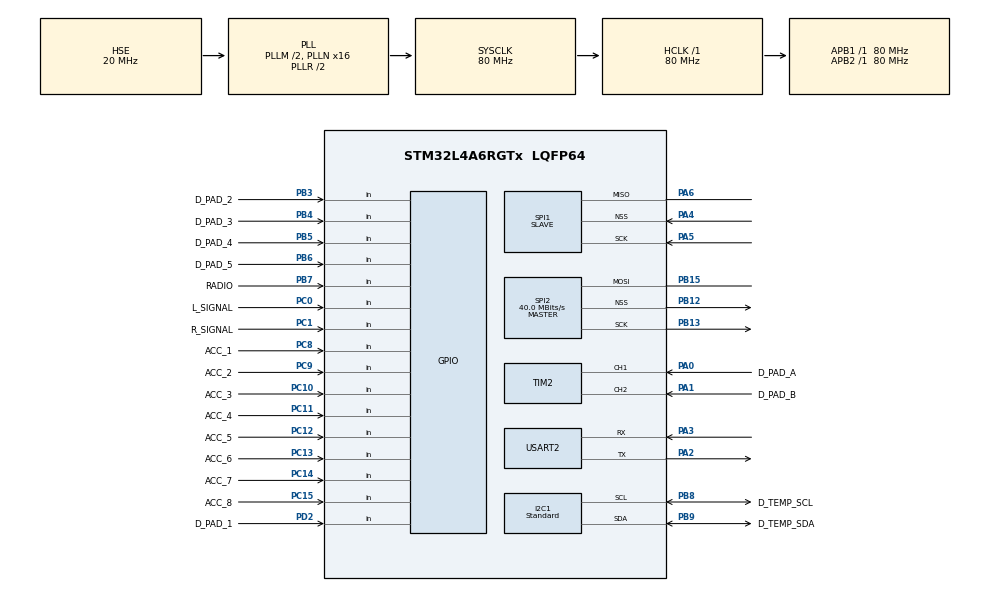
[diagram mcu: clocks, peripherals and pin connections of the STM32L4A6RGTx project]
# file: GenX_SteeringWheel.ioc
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FREERTOS.INCLUDE_vTaskDelayUntil=1
FREERTOS.MEMORY_ALLOCATION=2
FREERTOS.Tasks01=scanNavPadTask,0,128,scanNavPad,Default,NULL,Dynamic,NULL,NULL;acceleratorTask,1,128,getAccelerator,Default,NULL,Dynamic,NULL,NULL;getRHTempTask,-1,128,getRHTemp,Default,NULL,Dynamic,NULL,NULL
I2C1.Analog_Filter=I2C_ANALOGFILTER_DISABLE
I2C1.I2C_Speed_Mode=I2C_Standard
I2C1.Timing=0x10909EEE
Mcu.Family=STM32L4
Mcu.Name=STM32L4A6RGTx
Mcu.Package=LQFP64
NVIC.PriorityGroup=NVIC_PRIORITYGROUP_4
NVIC.TIM6_DAC_IRQn=true\:0\:0\:false\:false\:true\:false\:false\:true
NVIC.TimeBase=TIM6_DAC_IRQn
NVIC.TimeBaseIP=TIM6
PA0.GPIO_Label=D_PAD_A
PA0.Signal=S_TIM2_CH1
PA1.GPIO_Label=D_PAD_B
PA1.Signal=S_TIM2_CH2
PA13\ (JTMS/SWDIO).Mode=Serial_Wire
PA13\ (JTMS/SWDIO).Signal=SYS_JTMS-SWDIO
PA14\ (JTCK/SWCLK).Mode=Serial_Wire
PA14\ (JTCK/SWCLK).Signal=SYS_JTCK-SWCLK
PA2.Mode=Asynchronous
PA2.Signal=USART2_TX
PA3.Mode=Asynchronous
PA3.Signal=USART2_RX
PA4.Mode=NSS_Signal_Hard_Input
PA4.Signal=SPI1_NSS
PA5.Mode=Simplex_Bidirectional_Slave
PA5.Signal=SPI1_SCK
PA6.Mode=Simplex_Bidirectional_Slave
PA6.Signal=SPI1_MISO
PB12.Mode=NSS_Signal_Hard_Output
PB12.Signal=SPI2_NSS
PB13.Mode=Simplex_Bidirectional_Master
PB13.Signal=SPI2_SCK
PB15.Mode=Simplex_Bidirectional_Master
PB15.Signal=SPI2_MOSI
PB3\ (JTDO/TRACESWO).GPIO_Label=D_PAD_2
PB3\ (JTDO/TRACESWO).Signal=GPIO_Input
PB4\ (NJTRST).GPIO_Label=D_PAD_3
PB4\ (NJTRST).Signal=GPIO_Input
PB5.GPIO_Label=D_PAD_4
PB5.Signal=GPIO_Input
PB6.GPIO_Label=D_PAD_5
PB6.Signal=GPIO_Input
PB7.GPIO_Label=RADIO
PB7.Signal=GPIO_Input
PB8.GPIO_FM8=I2C_FASTMODEPLUS_PB8
PB8.GPIO_Label=D_TEMP_SCL
PB8.GPIO_PuPdOD=GPIO_NOPULL
PB8.Mode=I2C
PB8.Signal=I2C1_SCL
PB9.GPIO_FM9=I2C_FASTMODEPLUS_PB9
PB9.GPIO_Label=D_TEMP_SDA
PB9.GPIO_PuPdOD=GPIO_NOPULL
PB9.Mode=I2C
PB9.Signal=I2C1_SDA
PC0.GPIO_Label=L_SIGNAL
PC0.Signal=GPIO_Input
PC1.GPIO_Label=R_SIGNAL
PC1.Signal=GPIO_Input
PC10.GPIO_Label=ACC_3
PC10.Signal=GPIO_Input
PC11.GPIO_Label=ACC_4
PC11.Signal=GPIO_Input
PC12.GPIO_Label=ACC_5
PC12.Signal=GPIO_Input
PC13.GPIO_Label=ACC_6
PC13.Signal=GPIO_Input
PC14-OSC32_IN\ (PC14).GPIO_Label=ACC_7
PC14-OSC32_IN\ (PC14).Signal=GPIO_Input
PC15-OSC32_OUT\ (PC15).GPIO_Label=ACC_8
PC15-OSC32_OUT\ (PC15).Signal=GPIO_Input
PC8.GPIO_Label=ACC_1
PC8.Signal=GPIO_Input
PC9.GPIO_Label=ACC_2
PC9.Signal=GPIO_Input
PD2.GPIO_Label=D_PAD_1
PD2.Signal=GPIO_Input
PH0-OSC_IN\ (PH0).Mode=HSE-External-Oscillator
PH0-OSC_IN\ (PH0).Signal=RCC_OSC_IN
PH1-OSC_OUT\ (PH1).Mode=HSE-External-Oscillator
PH1-OSC_OUT\ (PH1).Signal=RCC_OSC_OUT
ProjectManager.HeapSize=0x200
ProjectManager.StackSize=0x400
ProjectManager.TargetToolchain=TrueSTUDIO
RCC.ADCFreq_Value=40000000
RCC.AHBFreq_Value=80000000
RCC.APB1Freq_Value=80000000
RCC.APB1TimFreq_Value=80000000
RCC.APB2Freq_Value=80000000
RCC.APB2TimFreq_Value=80000000
RCC.CortexFreq_Value=80000000
RCC.HCLKFreq_Value=80000000
RCC.HSE_VALUE=20000000
RCC.HSI48_VALUE=48000000
RCC.HSI_VALUE=16000000
RCC.LSE_VALUE=32768
RCC.MSI_VALUE=4000000
RCC.PLLM=2
RCC.PLLN=16
RCC.PLLSourceVirtual=RCC_PLLSOURCE_HSE
RCC.SYSCLKFreq_VALUE=80000000
RCC.SYSCLKSource=RCC_SYSCLKSOURCE_PLLCLK
RCC.USBFreq_Value=40000000
RCC.VCOOutputFreq_Value=160000000
SH.S_TIM2_CH1.0=TIM2_CH1,Encoder_Interface
SH.S_TIM2_CH2.0=TIM2_CH2,Encoder_Interface
SPI1.Direction=SPI_DIRECTION_1LINE
SPI1.Mode=SPI_MODE_SLAVE
SPI1.VirtualNSS=VM_NSSHARD
SPI1.VirtualType=VM_SLAVE
SPI2.BaudRatePrescaler=SPI_BAUDRATEPRESCALER_2
SPI2.CalculateBaudRate=40.0 MBits/s
SPI2.Direction=SPI_DIRECTION_1LINE
SPI2.Mode=SPI_MODE_MASTER
SPI2.VirtualNSS=VM_NSSHARD
SPI2.VirtualType=VM_MASTER
USART2.VirtualMode-Asynchronous=VM_ASYNC
VP_CRC_VS_CRC.Mode=CRC_Activate
VP_FREERTOS_VS_CMSIS_V1.Mode=CMSIS_V1
VP_SYS_VS_tim6.Mode=TIM6
board=custom

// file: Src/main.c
/* USER CODE BEGIN Header */
/**
  ******************************************************************************
  * @file           : main.c
  * @brief          : Main program body
  ******************************************************************************
  * @attention
  *
  * <h2><center>&copy; Copyright (c) 2019 STMicroelectronics.
  * All rights reserved.</center></h2>
  *
  * This software component is licensed by ST under Ultimate Liberty license
  * SLA0044, the "License"; You may not use this file except in compliance with
  * the License. You may obtain a copy of the License at:
  *                             www.st.com/SLA0044
  *
  ******************************************************************************
  */
/* USER CODE END Header */

#include "main.h"
#include "cmsis_os.h"
#include "crc.h"
#include "i2c.h"
#include "spi.h"
#include "tim.h"
#include "usart.h"
#include "gpio.h"

void SystemClock_Config(void);
void MX_FREERTOS_Init(void);

int main(void)
{

  /* MCU Configuration--------------------------------------------------------*/

  /* Reset of all peripherals, Initializes the Flash interface and the Systick. */
  HAL_Init();

  /* Configure the system clock */
  SystemClock_Config();

  /* Initialize all configured peripherals */
  MX_GPIO_Init();
  MX_SPI1_Init();
  MX_SPI2_Init();
  MX_USART2_UART_Init();
  MX_I2C1_Init();
  MX_TIM2_Init();
  MX_CRC_Init();

  /* Call init function for freertos objects (in freertos.c) */
  MX_FREERTOS_Init();

  /* Start scheduler */
  osKernelStart();

  /* We should never get here as control is now taken by the scheduler */

  /* Infinite loop */
  while (1)
  {

  }
}

void SystemClock_Config(void)
{
  RCC_OscInitTypeDef RCC_OscInitStruct = {0};
  RCC_ClkInitTypeDef RCC_ClkInitStruct = {0};
  RCC_PeriphCLKInitTypeDef PeriphClkInit = {0};

  /** Initializes the CPU, AHB and APB busses clocks
  */
  RCC_OscInitStruct.OscillatorType = RCC_OSCILLATORTYPE_HSE;
  RCC_OscInitStruct.HSEState = RCC_HSE_ON;
  RCC_OscInitStruct.PLL.PLLState = RCC_PLL_ON;
  RCC_OscInitStruct.PLL.PLLSource = RCC_PLLSOURCE_HSE;
  RCC_OscInitStruct.PLL.PLLM = 2;
  RCC_OscInitStruct.PLL.PLLN = 16;
  RCC_OscInitStruct.PLL.PLLP = RCC_PLLP_DIV2;
  RCC_OscInitStruct.PLL.PLLQ = RCC_PLLQ_DIV2;
  RCC_OscInitStruct.PLL.PLLR = RCC_PLLR_DIV2;
  if (HAL_RCC_OscConfig(&RCC_OscInitStruct) != HAL_OK)
  {
    Error_Handler();
  }
  /** Initializes the CPU, AHB and APB busses clocks
  */
  RCC_ClkInitStruct.ClockType = RCC_CLOCKTYPE_HCLK|RCC_CLOCKTYPE_SYSCLK
                              |RCC_CLOCKTYPE_PCLK1|RCC_CLOCKTYPE_PCLK2;
  RCC_ClkInitStruct.SYSCLKSource = RCC_SYSCLKSOURCE_PLLCLK;
  RCC_ClkInitStruct.AHBCLKDivider = RCC_SYSCLK_DIV1;
  RCC_ClkInitStruct.APB1CLKDivider = RCC_HCLK_DIV1;
  RCC_ClkInitStruct.APB2CLKDivider = RCC_HCLK_DIV1;

  if (HAL_RCC_ClockConfig(&RCC_ClkInitStruct, FLASH_LATENCY_4) != HAL_OK)
  {
    Error_Handler();
  }
  PeriphClkInit.PeriphClockSelection = RCC_PERIPHCLK_USART2|RCC_PERIPHCLK_I2C1;
  PeriphClkInit.Usart2ClockSelection = RCC_USART2CLKSOURCE_PCLK1;
  PeriphClkInit.I2c1ClockSelection = RCC_I2C1CLKSOURCE_PCLK1;
  if (HAL_RCCEx_PeriphCLKConfig(&PeriphClkInit) != HAL_OK)
  {
    Error_Handler();
  }
  /** Configure the main internal regulator output voltage
  */
  if (HAL_PWREx_ControlVoltageScaling(PWR_REGULATOR_VOLTAGE_SCALE1) != HAL_OK)
  {
    Error_Handler();
  }
}

void HAL_TIM_PeriodElapsedCallback(TIM_HandleTypeDef *htim)
{
  if (htim->Instance == TIM6) {
    HAL_IncTick();
  }
}

void Error_Handler(void)
{
}

/************************ (C) COPYRIGHT STMicroelectronics *****END OF FILE****/

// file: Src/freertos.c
/* USER CODE BEGIN Header */
/**
  ******************************************************************************
  * File Name          : freertos.c
  * Description        : Code for freertos applications
  ******************************************************************************
  * @attention
  *
  * <h2><center>&copy; Copyright (c) 2019 STMicroelectronics.
  * All rights reserved.</center></h2>
  *
  * This software component is licensed by ST under Ultimate Liberty license
  * SLA0044, the "License"; You may not use this file except in compliance with
  * the License. You may obtain a copy of the License at:
  *                             www.st.com/SLA0044
  *
  ******************************************************************************
  */
/* USER CODE END Header */

#include "FreeRTOS.h"
#include "task.h"
#include "main.h"
#include "cmsis_os.h"

/* USER CODE BEGIN Includes */
#include "serial.h"
#include "serializers.h"
#include "accelEncoder.h"
#include "rhTemp.h"
/* USER CODE END Includes */

/* USER CODE BEGIN PD */
#define navPadScanPeriod      1000  // ms
#define acceleratorScanPeriod 1000  // ms
#define RHTempScanPeriod      1000 // ms
/* USER CODE END PD */

osThreadId scanNavPadTaskHandle;
osThreadId acceleratorTaskHandle;
osThreadId getRHTempTaskHandle;

void scanNavPad(void const * argument);
void getAccelerator(void const * argument);
void getRHTemp(void const * argument);

void MX_FREERTOS_Init(void); /* (MISRA C 2004 rule 8.1) */

/* GetIdleTaskMemory prototype (linked to static allocation support) */
void vApplicationGetIdleTaskMemory( StaticTask_t **ppxIdleTaskTCBBuffer, StackType_t **ppxIdleTaskStackBuffer, uint32_t *pulIdleTaskStackSize );

/* USER CODE BEGIN GET_IDLE_TASK_MEMORY */
static StaticTask_t xIdleTaskTCBBuffer;
static StackType_t xIdleStack[configMINIMAL_STACK_SIZE];

void vApplicationGetIdleTaskMemory( StaticTask_t **ppxIdleTaskTCBBuffer, StackType_t **ppxIdleTaskStackBuffer, uint32_t *pulIdleTaskStackSize )
{
  *ppxIdleTaskTCBBuffer = &xIdleTaskTCBBuffer;
  *ppxIdleTaskStackBuffer = &xIdleStack[0];
  *pulIdleTaskStackSize = configMINIMAL_STACK_SIZE;
  /* place for user code */
}
/* USER CODE END GET_IDLE_TASK_MEMORY */

void MX_FREERTOS_Init(void) {
  /* USER CODE BEGIN Init */
   initRHTempSensor(); //FIXME
  /* USER CODE END Init */

  /* Create the thread(s) */
  /* definition and creation of scanNavPadTask */
  osThreadDef(scanNavPadTask, scanNavPad, osPriorityNormal, 0, 128);
  scanNavPadTaskHandle = osThreadCreate(osThread(scanNavPadTask), NULL);

  /* definition and creation of acceleratorTask */
  osThreadDef(acceleratorTask, getAccelerator, osPriorityAboveNormal, 0, 128);
  acceleratorTaskHandle = osThreadCreate(osThread(acceleratorTask), NULL);

  /* definition and creation of getRHTempTask */
  osThreadDef(getRHTempTask, getRHTemp, osPriorityBelowNormal, 0, 128);
  getRHTempTaskHandle = osThreadCreate(osThread(getRHTempTask), NULL);

}

void scanNavPad(void const * argument)
{

  /* USER CODE BEGIN scanNavPad */
  /* Infinite loop */
  uint32_t lastTickTime;
  char buf[MSG_LEN_NAV];
  uint8_t navEnc, navBtn;
  lastTickTime = xTaskGetTickCount();
  for(;;)
  {
    // TODO: Placeholders
    navBtn = 0x31;
    navEnc = 0x32;

    serializeNavPad(&buf, navBtn, navEnc);  // Assemble message
    send_data(&buf, MSG_LEN_NAV);    // Send message to UART
    osDelayUntil(&lastTickTime, navPadScanPeriod);
  }
  /* USER CODE END scanNavPad */
}

void getAccelerator(void const * argument)
{
  /* USER CODE BEGIN getAccelerator */
  /* Infinite loop */
  uint32_t lastTickTime;
  char buf[MSG_LEN_ENC];
  uint8_t encPos;
  lastTickTime = xTaskGetTickCount();
  for(;;)
  {
    encPos = readAccelEncoder();// Read GPIO pin values

    serializeEncoder(&buf, encPos);  // Assemble message
    send_data(&buf, MSG_LEN_ENC);    // Send message to UART
    osDelayUntil(&lastTickTime, acceleratorScanPeriod);
  }
  /* USER CODE END getAccelerator */
}

void getRHTemp(void const * argument)
{
  /* USER CODE BEGIN getRHTemp */
  /* Infinite loop */
  uint32_t lastTickTime;
  char buf[MSG_LEN_TEMP];
  uint16_t rh, temp;
  lastTickTime = xTaskGetTickCount();
  for(;;)
  {
    // TODO: placeholders
    rh = 0x34;
    temp = 0x35;
//    //rh = readRH();
//    //temp = readTemp();

    serializeRHTemp(&buf, temp, rh);  // Assemble message
    send_data(&buf, MSG_LEN_TEMP);    // Send message to UART
    osDelayUntil(&lastTickTime, RHTempScanPeriod);
  }
  /* USER CODE END getRHTemp */
}

/************************ (C) COPYRIGHT STMicroelectronics *****END OF FILE****/
